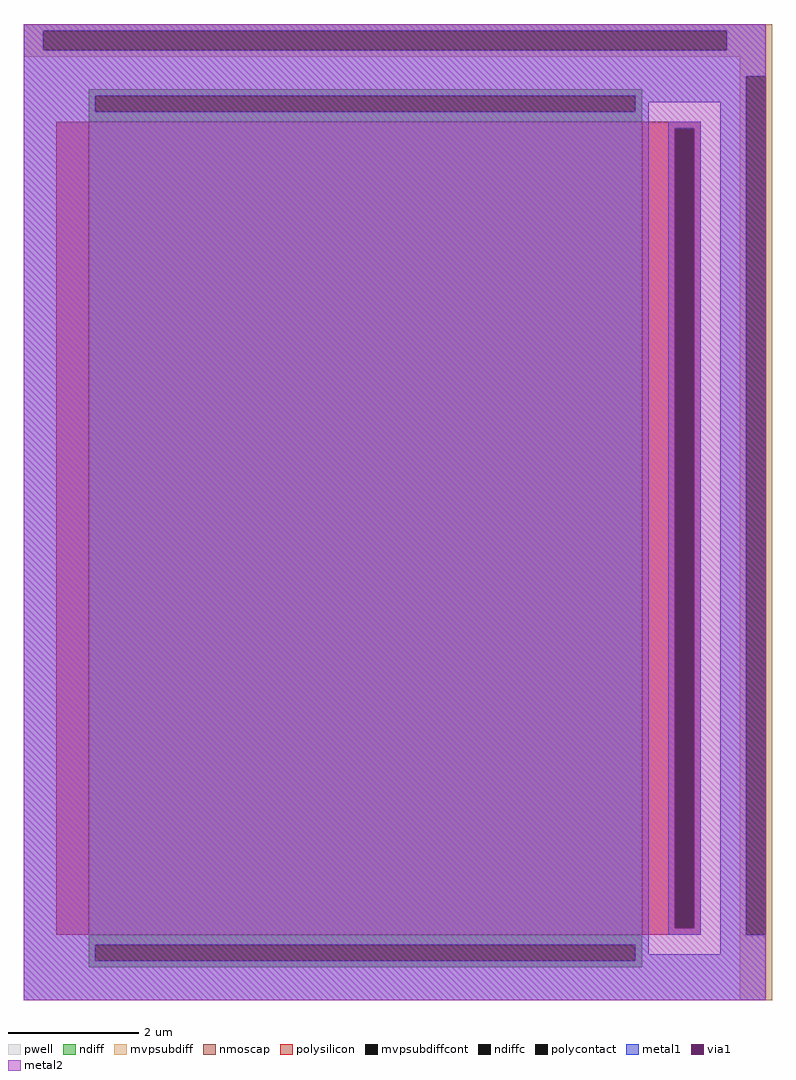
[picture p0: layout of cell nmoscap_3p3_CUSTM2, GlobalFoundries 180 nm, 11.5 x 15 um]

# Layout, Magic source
magic
tech gf180mcuD
<< pwell >>
rect -570 -80 -340 220
<< ndiff >>
rect -550 198 -380 200
rect -550 193 -548 198
rect -382 193 -380 198
rect -550 190 -380 193
rect -550 -63 -380 -60
rect -550 -68 -548 -63
rect -382 -68 -380 -63
rect -550 -70 -380 -68
<< ndiffc >>
rect -548 193 -382 198
rect -548 -68 -382 -63
<< mvpsubdiff >>
rect -570 218 -340 220
rect -570 212 -564 218
rect -354 212 -340 218
rect -570 210 -340 212
rect -350 204 -340 210
rect -350 -60 -348 204
rect -342 -60 -340 204
rect -350 -80 -340 -60
<< mvpsubdiffcont >>
rect -564 212 -354 218
rect -348 -60 -342 204
<< nmoscap >>
rect -550 -60 -380 190
<< polysilicon >>
rect -560 -60 -550 190
rect -380 188 -362 190
rect -380 -58 -370 188
rect -364 -58 -362 188
rect -380 -60 -362 -58
<< polycontact >>
rect -370 -58 -364 188
<< metal1 >>
rect -570 218 -342 220
rect -570 212 -564 218
rect -354 212 -342 218
rect -570 204 -342 212
rect -570 198 -348 204
rect -570 193 -548 198
rect -382 196 -348 198
rect -382 193 -378 196
rect -570 -63 -378 193
rect -372 188 -362 190
rect -372 -58 -370 188
rect -364 -58 -362 188
rect -372 -60 -362 -58
rect -356 -60 -348 196
rect -570 -68 -548 -63
rect -382 -66 -378 -63
rect -356 -66 -342 -60
rect -382 -68 -342 -66
rect -570 -80 -342 -68
<< via1 >>
rect -370 -58 -364 188
<< metal2 >>
rect -570 188 -342 220
rect -570 -58 -370 188
rect -364 -58 -342 188
rect -570 -80 -342 -58
<< properties >>
string gencell nmoscap_3p3
string library gf180mcu
string parameters w 6.5 l 12.5 m 1 nf 1 diffcov 100 polycov 100 guard 0 glc 0 grc 0 gtc 0 gbc 0 tbcov 100 rlcov 100 topc 1 botc 0 poverlap 0 doverlap 1 lmin 0.28 wmin 0.22 class mosfet full_metal 0 compatible {nmoscap_3p3 nmoscap_6p0}
<< end >>
